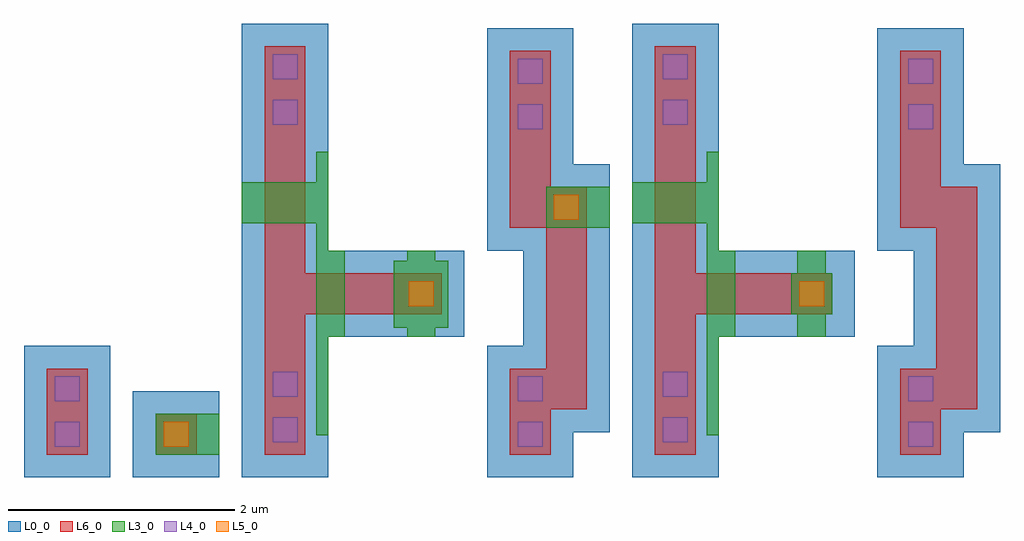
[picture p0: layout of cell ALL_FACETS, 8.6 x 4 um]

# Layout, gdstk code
import gdstk
lib = gdstk.Library(unit=1e-6, precision=1e-09)
def R(c, l, rs):  # rectangles x0, y0, x1, y1
    for r in rs: c.add(gdstk.rectangle(r[:2], r[2:], *l))
def P(c, l, *ps):  # polygons
    for p in ps: c.add(gdstk.Polygon(p, *l))
L0_0 = (0, 0)
L3_0 = (3, 0)
L4_0 = (4, 0)
L5_0 = (5, 0)
L6_0 = (6, 0)

facet = lib.new_cell('FACET')
R(facet, L0_0, [(-0.2,-0.2,0.56,0.96)])
R(facet, L4_0, [(0.07,0.07,0.29,0.29), (0.07,0.07,0.29,0.29), (0.07,0.47,0.29,0.69), (0.07,0.47,0.29,0.69)])
R(facet, L6_0, [(0,0,0.36,0.76)])
facet.add(gdstk.Label('FACET #1', (0.18,0.38), layer=0, texttype=0))

facet_1 = lib.new_cell('FACET$1')
R(facet_1, L0_0, [(-0.2,-0.2,0.56,0.56)])
R(facet_1, L3_0, [(0,0,0.56,0.36)])
R(facet_1, L5_0, [(0.07,0.07,0.29,0.29)])
R(facet_1, L6_0, [(0,0,0.36,0.36)])
facet_1.add(gdstk.Label('FACET #2', (0.18,0.18), layer=0, texttype=0))

facet_2 = lib.new_cell('FACET$2')
P(facet_2, L0_0, [(-0.2,-0.2),(-0.2,3.8),(0.56,3.8),(0.56,1.8),(1.76,1.8),(1.76,1.04),(0.56,1.04),(0.56,-0.2)])
P(facet_2, L3_0, [(1.255,1.04),(1.255,1.12),(1.14,1.12),(1.14,1.71),(1.255,1.71),(1.255,1.8),(1.505,1.8),(1.505,1.71),(1.62,1.71),(1.62,1.12),(1.505,1.12),(1.505,1.04)],
  [(0.455,0.17),(0.455,2.04),(-0.2,2.04),(-0.2,2.4),(0.455,2.4),(0.455,2.67),(0.56,2.67),(0.56,1.8),(0.705,1.8),(0.705,1.04),(0.56,1.04),(0.56,0.17)])
R(facet_2, L4_0, [(0.07,0.11,0.29,0.33), (0.07,0.51,0.29,0.73), (0.07,2.91,0.29,3.13), (0.07,3.31,0.29,3.53)])
R(facet_2, L5_0, [(1.27,1.31,1.49,1.53)])
P(facet_2, L6_0, [(0,0),(0,3.6),(0.36,3.6),(0.36,1.6),(1.56,1.6),(1.56,1.24),(0.36,1.24),(0.36,0)])
facet_2.add(gdstk.Label('FACET #3', (0.78,1.8), layer=0, texttype=0))

facet_3 = lib.new_cell('FACET$3')
P(facet_3, L0_0, [(-0.2,-0.2),(-0.2,0.96),(0.12,0.96),(0.12,1.8),(-0.2,1.8),(-0.2,3.76),(0.56,3.76),(0.56,2.56),(0.88,2.56),(0.88,0.2),(0.56,0.2),(0.56,-0.2)])
R(facet_3, L3_0, [(0.32,2,0.88,2.36)])
R(facet_3, L4_0, [(0.07,0.07,0.29,0.29), (0.07,0.47,0.29,0.69), (0.07,2.87,0.29,3.09), (0.07,3.27,0.29,3.49)])
R(facet_3, L5_0, [(0.39,2.07,0.61,2.29)])
P(facet_3, L6_0, [(0,0),(0,0.76),(0.32,0.76),(0.32,2),(0,2),(0,3.56),(0.36,3.56),(0.36,2.36),(0.68,2.36),(0.68,0.4),(0.36,0.4),(0.36,0)])
facet_3.add(gdstk.Label('FACET #4', (0.34,1.78), layer=0, texttype=0))

facet_4 = lib.new_cell('FACET$4')
P(facet_4, L0_0, [(-0.2,-0.2),(-0.2,3.8),(0.56,3.8),(0.56,1.8),(1.76,1.8),(1.76,1.04),(0.56,1.04),(0.56,-0.2)])
P(facet_4, L3_0, [(1.255,1.04),(1.255,1.24),(1.2,1.24),(1.2,1.6),(1.255,1.6),(1.255,1.8),(1.505,1.8),(1.505,1.6),(1.56,1.6),(1.56,1.24),(1.505,1.24),(1.505,1.04)],
  [(0.455,0.17),(0.455,2.04),(-0.2,2.04),(-0.2,2.4),(0.455,2.4),(0.455,2.67),(0.56,2.67),(0.56,1.8),(0.705,1.8),(0.705,1.04),(0.56,1.04),(0.56,0.17)])
R(facet_4, L4_0, [(0.07,0.11,0.29,0.33), (0.07,0.51,0.29,0.73), (0.07,2.91,0.29,3.13), (0.07,3.31,0.29,3.53)])
R(facet_4, L5_0, [(1.27,1.31,1.49,1.53)])
P(facet_4, L6_0, [(0,0),(0,3.6),(0.36,3.6),(0.36,1.6),(1.56,1.6),(1.56,1.24),(0.36,1.24),(0.36,0)])
facet_4.add(gdstk.Label('FACET #5', (0.78,1.8), layer=0, texttype=0))

facet_5 = lib.new_cell('FACET$5')
P(facet_5, L0_0, [(-0.2,-0.2),(-0.2,0.96),(0.12,0.96),(0.12,1.8),(-0.2,1.8),(-0.2,3.76),(0.56,3.76),(0.56,2.56),(0.88,2.56),(0.88,0.2),(0.56,0.2),(0.56,-0.2)])
R(facet_5, L4_0, [(0.07,0.07,0.29,0.29), (0.07,0.47,0.29,0.69), (0.07,2.87,0.29,3.09), (0.07,3.27,0.29,3.49)])
P(facet_5, L6_0, [(0,0),(0,0.76),(0.32,0.76),(0.32,2),(0,2),(0,3.56),(0.36,3.56),(0.36,2.36),(0.68,2.36),(0.68,0.4),(0.36,0.4),(0.36,0)])
facet_5.add(gdstk.Label('FACET #6', (0.34,1.78), layer=0, texttype=0))

all_facets = lib.new_cell('ALL_FACETS')
all_facets.add(gdstk.Reference(facet, (0,0)))
all_facets.add(gdstk.Reference(facet_1, (0.96,0)))
all_facets.add(gdstk.Reference(facet_2, (1.92,0)))
all_facets.add(gdstk.Reference(facet_3, (4.08,0)))
all_facets.add(gdstk.Reference(facet_4, (5.36,0)))
all_facets.add(gdstk.Reference(facet_5, (7.52,0)))

lib.write_gds('ALL_FACETS.gds')
